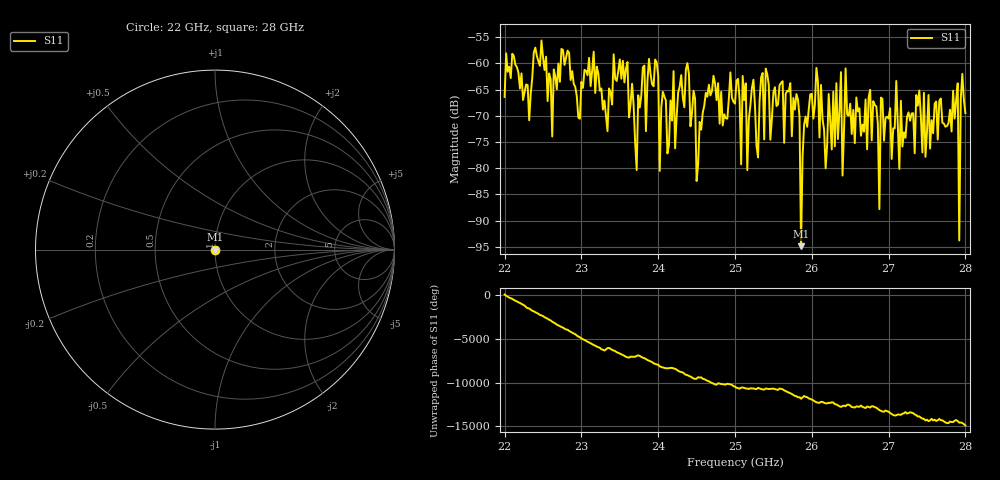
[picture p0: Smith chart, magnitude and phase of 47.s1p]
#  HZ  S  RI  R  50.00
! Rohde & Schwarz ZVA40 4Ports - Version 3.90 - 1145.1110k42 SN: 100403
! Date: 2023-10-04 07:55:08
! Measurement: S12
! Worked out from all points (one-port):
!   301 points, 22 GHz to 28 GHz, reference 50 ohm
!   lowest |S11| = -94.9 dB at 25.86 GHz (marker M1), VSWR 1.00, Z = 50 + j0.00102 ohm
!   |S11| at or under -10 dB: start of sweep to end of sweep
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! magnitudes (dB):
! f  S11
! 22 GHz  -66.4
! 22.48 GHz  -55.6
! 22.62 GHz  -74.0
! 22.76 GHz  -57.4
! 23.34 GHz  -72.9
! 23.5 GHz  -59.3
! 23.72 GHz  -80.4
! 23.8 GHz  -60.8
! 23.98 GHz  -59.8
! 24.02 GHz  -80.5
! 24.26 GHz  -65.5
! 24.38 GHz  -60.0
! 24.5 GHz  -82.5
! 25 GHz  -67.7
! 25.14 GHz  -63.8
! 25.16 GHz  -80.4
! 25.24 GHz  -63.1
! 25.76 GHz  -66.6
! 25.86 GHz  -94.9
! 26.06 GHz  -60.9
! 26.18 GHz  -80.0
! 26.22 GHz  -65.9
! 26.38 GHz  -61.7
! 26.4 GHz  -81.4
! 26.44 GHz  -61.0
! 26.5 GHz  -67.7
! 27.26 GHz  -69.4
! 28 GHz  -69.5
